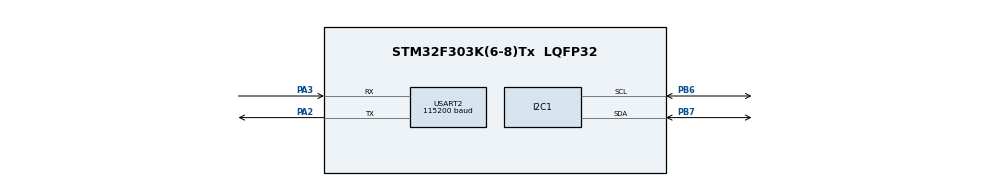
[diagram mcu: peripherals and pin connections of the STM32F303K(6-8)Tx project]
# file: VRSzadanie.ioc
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Dma.I2C1_RX.3.Direction=DMA_PERIPH_TO_MEMORY
Dma.I2C1_RX.3.Instance=DMA1_Channel3
Dma.I2C1_RX.3.MemDataAlignment=DMA_MDATAALIGN_BYTE
Dma.I2C1_RX.3.MemInc=DMA_MINC_ENABLE
Dma.I2C1_RX.3.Mode=DMA_NORMAL
Dma.I2C1_RX.3.PeriphDataAlignment=DMA_PDATAALIGN_BYTE
Dma.I2C1_RX.3.PeriphInc=DMA_PINC_DISABLE
Dma.I2C1_RX.3.Priority=DMA_PRIORITY_LOW
Dma.I2C1_TX.2.Direction=DMA_MEMORY_TO_PERIPH
Dma.I2C1_TX.2.Instance=DMA1_Channel2
Dma.I2C1_TX.2.MemDataAlignment=DMA_MDATAALIGN_BYTE
Dma.I2C1_TX.2.MemInc=DMA_MINC_ENABLE
Dma.I2C1_TX.2.Mode=DMA_NORMAL
Dma.I2C1_TX.2.PeriphDataAlignment=DMA_PDATAALIGN_BYTE
Dma.I2C1_TX.2.PeriphInc=DMA_PINC_DISABLE
Dma.I2C1_TX.2.Priority=DMA_PRIORITY_LOW
Dma.Request0=USART2_TX
Dma.Request1=USART2_RX
Dma.Request2=I2C1_TX
Dma.Request3=I2C1_RX
Dma.USART2_RX.1.Direction=DMA_PERIPH_TO_MEMORY
Dma.USART2_RX.1.Instance=DMA1_Channel6
Dma.USART2_RX.1.MemDataAlignment=DMA_MDATAALIGN_BYTE
Dma.USART2_RX.1.MemInc=DMA_MINC_ENABLE
Dma.USART2_RX.1.Mode=DMA_NORMAL
Dma.USART2_RX.1.PeriphDataAlignment=DMA_PDATAALIGN_BYTE
Dma.USART2_RX.1.PeriphInc=DMA_PINC_DISABLE
Dma.USART2_RX.1.Priority=DMA_PRIORITY_LOW
Dma.USART2_TX.0.Direction=DMA_MEMORY_TO_PERIPH
Dma.USART2_TX.0.Instance=DMA1_Channel7
Dma.USART2_TX.0.MemDataAlignment=DMA_MDATAALIGN_BYTE
Dma.USART2_TX.0.MemInc=DMA_MINC_ENABLE
Dma.USART2_TX.0.Mode=DMA_NORMAL
Dma.USART2_TX.0.PeriphDataAlignment=DMA_PDATAALIGN_BYTE
Dma.USART2_TX.0.PeriphInc=DMA_PINC_DISABLE
Dma.USART2_TX.0.Priority=DMA_PRIORITY_LOW
Mcu.Family=STM32F3
Mcu.Name=STM32F303K(6-8)Tx
Mcu.Package=LQFP32
NVIC.DMA1_Channel2_IRQn=true\:0\:0\:false\:false\:true\:false\:true\:true
NVIC.DMA1_Channel3_IRQn=true\:0\:0\:false\:false\:true\:false\:true\:true
NVIC.DMA1_Channel6_IRQn=true\:0\:0\:false\:false\:true\:false\:true\:true
NVIC.DMA1_Channel7_IRQn=true\:0\:0\:false\:false\:true\:false\:true\:true
NVIC.I2C1_EV_IRQn=true\:0\:0\:false\:false\:true\:true\:true\:true
NVIC.PriorityGroup=NVIC_PRIORITYGROUP_4
NVIC.USART2_IRQn=true\:0\:0\:false\:false\:true\:true\:true\:true
PA2.Mode=Asynchronous
PA2.Signal=USART2_TX
PA3.Mode=Asynchronous
PA3.Signal=USART2_RX
PB6.Mode=I2C
PB6.Signal=I2C1_SCL
PB7.Mode=I2C
PB7.Signal=I2C1_SDA
ProjectManager.HeapSize=0x200
ProjectManager.StackSize=0x400
ProjectManager.TargetToolchain=STM32CubeIDE
RCC.AHBFreq_Value=8000000
RCC.APB1Freq_Value=8000000
RCC.APB2Freq_Value=8000000
RCC.CortexFreq_Value=8000000
RCC.HSE_VALUE=8000000
RCC.HSI_VALUE=8000000
RCC.SYSCLKFreq_VALUE=8000000
USART2.BaudRate=115200
USART2.VirtualMode-Asynchronous=VM_ASYNC
board=custom

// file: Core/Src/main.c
/* USER CODE BEGIN Header */
/**
  ******************************************************************************
  * @file           : main.c
  * @brief          : Main program body
  ******************************************************************************
  * @attention
  *
  * Copyright (c) 2023 STMicroelectronics.
  * All rights reserved.
  *
  * This software is licensed under terms that can be found in the LICENSE file
  * in the root directory of this software component.
  * If no LICENSE file comes with this software, it is provided AS-IS.
  *
  ******************************************************************************
  */
/* USER CODE END Header */
#include "main.h"
#include "dma.h"
#include "i2c.h"
#include "usart.h"
#include "gpio.h"

/* USER CODE BEGIN Includes */
#include "hts221.h"
#include "lps25hb.h"

/* USER CODE END Includes */

void SystemClock_Config(void);

int main(void)
{

  /* MCU Configuration--------------------------------------------------------*/

  /* Reset of all peripherals, Initializes the Flash interface and the Systick. */
  LL_APB2_GRP1_EnableClock(LL_APB2_GRP1_PERIPH_SYSCFG);
  LL_APB1_GRP1_EnableClock(LL_APB1_GRP1_PERIPH_PWR);

  /* System interrupt init*/
  NVIC_SetPriorityGrouping(NVIC_PRIORITYGROUP_4);

  /* SysTick_IRQn interrupt configuration */
  NVIC_SetPriority(SysTick_IRQn, NVIC_EncodePriority(NVIC_GetPriorityGrouping(),15, 0));

  /* Configure the system clock */
  SystemClock_Config();

  /* Initialize all configured peripherals */
  MX_GPIO_Init();
  MX_DMA_Init();
  MX_I2C1_Init();
  MX_USART2_UART_Init();
  /* USER CODE BEGIN 2 */
  uint8_t hts=hts221_init();
  uint8_t lps=lps22hb_init();

  /* USER CODE END 2 */

  /* Infinite loop */
  /* USER CODE BEGIN WHILE */
  float temp, hum;
   float press, alt;
   press = lps22hb_get_pressure();
  //float alt_start = lps22hb_calculate_altitude(press);
   uint8_t *buffer;
   int len;
   while (1)
   {
 	  if(hts){
 		  temp = hts221_get_temperature();
 		  hum = hts221_get_humidity();
 	  }else{
 		  temp = 0;
 		  hum = 0;
 	  }
     if(lps){
       press = lps22hb_get_pressure();
       alt = lps22hb_calculate_altitude(press);// - alt_start;
     }else{
       press = 0;
       alt = 0;
     }
 	  buffer = malloc(32*sizeof(uint8_t));
 	  len = sprintf(buffer, "%2.1f,%2.0f,%4.2f,%3.2f\n",temp,hum,press,alt);
 	  USART2_PutBuffer(buffer, len);
 	  free(buffer);
    /* USER CODE END WHILE */

   }
}

void SystemClock_Config(void)
{
  LL_FLASH_SetLatency(LL_FLASH_LATENCY_0);
  while(LL_FLASH_GetLatency()!= LL_FLASH_LATENCY_0)
  {
  }
  LL_RCC_HSI_Enable();

   /* Wait till HSI is ready */
  while(LL_RCC_HSI_IsReady() != 1)
  {

  }
  LL_RCC_HSI_SetCalibTrimming(16);
  LL_RCC_SetAHBPrescaler(LL_RCC_SYSCLK_DIV_1);
  LL_RCC_SetAPB1Prescaler(LL_RCC_APB1_DIV_1);
  LL_RCC_SetAPB2Prescaler(LL_RCC_APB2_DIV_1);
  LL_RCC_SetSysClkSource(LL_RCC_SYS_CLKSOURCE_HSI);

   /* Wait till System clock is ready */
  while(LL_RCC_GetSysClkSource() != LL_RCC_SYS_CLKSOURCE_STATUS_HSI)
  {

  }
  LL_Init1msTick(8000000);
  LL_SetSystemCoreClock(8000000);
  LL_RCC_SetI2CClockSource(LL_RCC_I2C1_CLKSOURCE_HSI);
}

void Error_Handler(void)
{
  __disable_irq();
  while (1)
  {
  }
}
